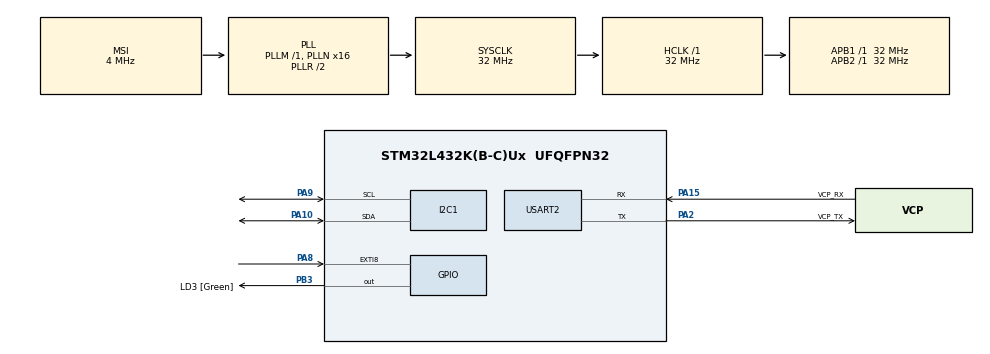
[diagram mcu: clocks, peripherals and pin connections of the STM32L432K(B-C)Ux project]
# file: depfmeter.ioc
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I2C1.Timing=0x00707CBB
Mcu.Family=STM32L4
Mcu.Name=STM32L432K(B-C)Ux
Mcu.Package=UFQFPN32
NVIC.EXTI9_5_IRQn=true\:0\:0\:false\:false\:true\:true\:true
NVIC.I2C1_ER_IRQn=true\:0\:0\:false\:false\:true\:true\:true
NVIC.I2C1_EV_IRQn=true\:0\:0\:false\:false\:true\:true\:true
NVIC.PriorityGroup=NVIC_PRIORITYGROUP_4
NVIC.RCC_IRQn=true\:0\:0\:false\:false\:true\:true\:false
NVIC.TIM1_UP_TIM16_IRQn=true\:0\:0\:false\:false\:true\:true\:true
PA0.GPIO_Label=MCO [High speed clock in]
PA0.Mode=HSE-External-Clock-Source-for-LittleOrca
PA0.Signal=RCC_CK_IN
PA10.Mode=I2C
PA10.Signal=I2C1_SDA
PA13\ (JTMS-SWDIO).GPIO_Label=SWDIO
PA13\ (JTMS-SWDIO).Mode=Serial_Wire
PA13\ (JTMS-SWDIO).Signal=SYS_JTMS-SWDIO
PA14\ (JTCK-SWCLK).GPIO_Label=SWCLK
PA14\ (JTCK-SWCLK).Mode=Serial_Wire
PA14\ (JTCK-SWCLK).Signal=SYS_JTCK-SWCLK
PA15\ (JTDI).GPIO_Label=VCP_RX
PA15\ (JTDI).Mode=Asynchronous
PA15\ (JTDI).Signal=USART2_RX
PA2.GPIO_Label=VCP_TX
PA2.Mode=Asynchronous
PA2.Signal=USART2_TX
PA8.GPIO_PuPd=GPIO_PULLDOWN
PA8.Signal=GPXTI8
PA9.Mode=I2C
PA9.Signal=I2C1_SCL
PB3\ (JTDO-TRACESWO).GPIO_Label=LD3 [Green]
PB3\ (JTDO-TRACESWO).Signal=GPIO_Output
PC14-OSC32_IN\ (PC14).Mode=LSE-External-Oscillator
PC14-OSC32_IN\ (PC14).Signal=RCC_OSC32_IN
PC15-OSC32_OUT\ (PC15).Mode=LSE-External-Oscillator
PC15-OSC32_OUT\ (PC15).Signal=RCC_OSC32_OUT
ProjectManager.HeapSize=0x200
ProjectManager.StackSize=0x400
ProjectManager.TargetToolchain=STM32CubeIDE
RCC.AHBFreq_Value=32000000
RCC.APB1Freq_Value=32000000
RCC.APB1TimFreq_Value=32000000
RCC.APB2Freq_Value=32000000
RCC.APB2TimFreq_Value=32000000
RCC.CortexFreq_Value=32000000
RCC.HCLKFreq_Value=32000000
RCC.HSE_VALUE=8000000
RCC.HSI16_VALUE=16000000
RCC.HSI48_VALUE=48000000
RCC.HSI_VALUE=16000000
RCC.MSI_VALUE=4000000
RCC.PLLMUL=RCC_PLLMUL_4
RCC.PLLN=16
RCC.SYSCLKFreq_VALUE=32000000
RCC.SYSCLKSource=RCC_SYSCLKSOURCE_PLLCLK
RCC.VCOOutputFreq_Value=64000000
TIM1.Period=60000
TIM1.Prescaler=3199
USART2.VirtualMode-Asynchronous=VM_ASYNC
VP_TIM1_VS_ClockSourceINT.Mode=Internal
board=NUCLEO-L432KC

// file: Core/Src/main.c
/* USER CODE BEGIN Header */
/**
 ******************************************************************************
 * @file           : main.c
 * @brief          : Main program body
 ******************************************************************************
 * @attention
 *
 * <h2><center>&copy; Copyright (c) 2020 STMicroelectronics.
 * All rights reserved.</center></h2>
 *
 * This software component is licensed by ST under BSD 3-Clause license,
 * the "License"; You may not use this file except in compliance with the
 * License. You may obtain a copy of the License at:
 *                        opensource.org/licenses/BSD-3-Clause
 *
 ******************************************************************************
 */
/* USER CODE END Header */
#include "main.h"

I2C_HandleTypeDef hi2c1;

TIM_HandleTypeDef htim1;
UART_HandleTypeDef huart2;

/* USER CODE BEGIN PV */
uint8_t rx_buffer[3];
uint16_t C[7];
uint32_t D1, D2;
uint8_t RES_DEVICE = 0x1E;
uint8_t CONVERT_D1 = 0x4A;
uint8_t CONVERT_D2 = 0x5A;
uint8_t ADC_READ = 0x00;
uint8_t PROM_READ = 0xA0;
int32_t result;
/* USER CODE END PV */

void SystemClock_Config(void);
static void MX_GPIO_Init(void);
static void MX_USART2_UART_Init(void);
static void MX_I2C1_Init(void);
static void MX_TIM1_Init(void);
/* USER CODE BEGIN PFP */
int32_t calculate();
/* USER CODE END PFP */

int main(void) {
	/* USER CODE BEGIN 1 */
	HAL_StatusTypeDef ret;
	/* USER CODE END 1 */

	/* MCU Configuration--------------------------------------------------------*/

	/* Reset of all peripherals, Initializes the Flash interface and the Systick. */
	HAL_Init();

	/* Configure the system clock */
	SystemClock_Config();

	/* Initialize all configured peripherals */
	MX_GPIO_Init();
	MX_USART2_UART_Init();
	MX_I2C1_Init();
	MX_TIM1_Init();
	/* USER CODE BEGIN 2 */
	//HAL_TIM_Base_Start_IT(&htim1);
	HAL_TIM_Base_Start(&htim1);
	HAL_I2C_Init(&hi2c1);
	/* USER CODE END 2 */

	/* Infinite loop */
	/* USER CODE BEGIN WHILE */
	while (1) {
				HAL_TIM_Base_Start(&htim1);
				if (TIM1->CNT == 19000) {//if diver holds button for 5 secs calcul starts
					//resetting the device first
					uint8_t *p;
					p = &RES_DEVICE;
					HAL_I2C_Master_Transmit(&hi2c1, DEVICE_ADDR, p, COMMAND_LENGTH, HAL_MAX_DELAY);
					uint8_t prom_addr = 160;
					//receiving the coefs
					for (uint8_t i = 0; i < 8; i++) {
						uint8_t prom_buff[2];
						prom_addr += 2;
						p = &prom_addr;
						HAL_I2C_Master_Transmit(&hi2c1, DEVICE_ADDR, p, COMMAND_LENGTH, HAL_MAX_DELAY);

						HAL_I2C_Master_Receive(&hi2c1, DEVICE_ADDR, prom_buff, PROM_LENGTH, HAL_MAX_DELAY);

						C[i] = (prom_buff[0] << 8) | (prom_buff[1]);
					}
					//initializing D1 conversion
					p = &CONVERT_D1;
					ret = HAL_I2C_Master_Transmit(&hi2c1, DEVICE_ADDR, p, COMMAND_LENGTH, HAL_MAX_DELAY);
					HAL_Delay(18.08);

					uint8_t adc_buff[3];
					//reading D1 data
					p = &ADC_READ;
					ret = HAL_I2C_Master_Transmit(&hi2c1, DEVICE_ADDR, p, COMMAND_LENGTH, HAL_MAX_DELAY);
					HAL_Delay(300);
					HAL_I2C_Master_Receive(&hi2c1, DEVICE_ADDR, adc_buff, ADC_LENGTH, HAL_MAX_DELAY);

					D1 = (adc_buff[0] << 16) | (adc_buff[1] << 8) | (adc_buff[2]);

					//initializing D2 conversion
					p = &CONVERT_D2;
					HAL_I2C_Master_Transmit(&hi2c1, DEVICE_ADDR, p,
							COMMAND_LENGTH, HAL_MAX_DELAY);
					HAL_Delay(18.08);

					//reading D2 data
					p = &ADC_READ;
					HAL_I2C_Master_Transmit(&hi2c1, DEVICE_ADDR, p,
							COMMAND_LENGTH, HAL_MAX_DELAY);
					HAL_I2C_Master_Receive(&hi2c1, DEVICE_ADDR, adc_buff,
							ADC_LENGTH, HAL_MAX_DELAY);

					D2 = (adc_buff[0] << 16) | (adc_buff[1] << 8) | (adc_buff[2]);

					result = calculate();

					HAL_TIM_Base_Stop(&htim1);
					TIM1->CNT = 0;
				}
		/* USER CODE END WHILE */

	}
}

void SystemClock_Config(void) {
	RCC_OscInitTypeDef RCC_OscInitStruct = { 0 };
	RCC_ClkInitTypeDef RCC_ClkInitStruct = { 0 };
	RCC_PeriphCLKInitTypeDef PeriphClkInit = { 0 };

	/** Configure LSE Drive Capability
	 */
	HAL_PWR_EnableBkUpAccess();
	__HAL_RCC_LSEDRIVE_CONFIG(RCC_LSEDRIVE_LOW);
	/** Initializes the RCC Oscillators according to the specified parameters
	 * in the RCC_OscInitTypeDef structure.
	 */
	RCC_OscInitStruct.OscillatorType = RCC_OSCILLATORTYPE_LSE
			| RCC_OSCILLATORTYPE_MSI;
	RCC_OscInitStruct.LSEState = RCC_LSE_ON;
	RCC_OscInitStruct.MSIState = RCC_MSI_ON;
	RCC_OscInitStruct.MSICalibrationValue = 0;
	RCC_OscInitStruct.MSIClockRange = RCC_MSIRANGE_6;
	RCC_OscInitStruct.PLL.PLLState = RCC_PLL_ON;
	RCC_OscInitStruct.PLL.PLLSource = RCC_PLLSOURCE_MSI;
	RCC_OscInitStruct.PLL.PLLM = 1;
	RCC_OscInitStruct.PLL.PLLN = 16;
	RCC_OscInitStruct.PLL.PLLP = RCC_PLLP_DIV7;
	RCC_OscInitStruct.PLL.PLLQ = RCC_PLLQ_DIV2;
	RCC_OscInitStruct.PLL.PLLR = RCC_PLLR_DIV2;
	if (HAL_RCC_OscConfig(&RCC_OscInitStruct) != HAL_OK) {
		Error_Handler();
	}
	/** Initializes the CPU, AHB and APB buses clocks
	 */
	RCC_ClkInitStruct.ClockType = RCC_CLOCKTYPE_HCLK | RCC_CLOCKTYPE_SYSCLK
			| RCC_CLOCKTYPE_PCLK1 | RCC_CLOCKTYPE_PCLK2;
	RCC_ClkInitStruct.SYSCLKSource = RCC_SYSCLKSOURCE_PLLCLK;
	RCC_ClkInitStruct.AHBCLKDivider = RCC_SYSCLK_DIV1;
	RCC_ClkInitStruct.APB1CLKDivider = RCC_HCLK_DIV1;
	RCC_ClkInitStruct.APB2CLKDivider = RCC_HCLK_DIV1;

	if (HAL_RCC_ClockConfig(&RCC_ClkInitStruct, FLASH_LATENCY_1) != HAL_OK) {
		Error_Handler();
	}
	PeriphClkInit.PeriphClockSelection = RCC_PERIPHCLK_USART2
			| RCC_PERIPHCLK_I2C1;
	PeriphClkInit.Usart2ClockSelection = RCC_USART2CLKSOURCE_PCLK1;
	PeriphClkInit.I2c1ClockSelection = RCC_I2C1CLKSOURCE_PCLK1;
	if (HAL_RCCEx_PeriphCLKConfig(&PeriphClkInit) != HAL_OK) {
		Error_Handler();
	}
	/** Configure the main internal regulator output voltage
	 */
	if (HAL_PWREx_ControlVoltageScaling(PWR_REGULATOR_VOLTAGE_SCALE1)
			!= HAL_OK) {
		Error_Handler();
	}
	/** Enable MSI Auto calibration
	 */
	HAL_RCCEx_EnableMSIPLLMode();
}

static void MX_I2C1_Init(void) {

	hi2c1.Instance = I2C1;
	hi2c1.Init.Timing = 0x00707CBB;
	hi2c1.Init.OwnAddress1 = 0;
	hi2c1.Init.AddressingMode = I2C_ADDRESSINGMODE_7BIT;
	hi2c1.Init.DualAddressMode = I2C_DUALADDRESS_DISABLE;
	hi2c1.Init.OwnAddress2 = 0;
	hi2c1.Init.OwnAddress2Masks = I2C_OA2_NOMASK;
	hi2c1.Init.GeneralCallMode = I2C_GENERALCALL_DISABLE;
	hi2c1.Init.NoStretchMode = I2C_NOSTRETCH_DISABLE;
	if (HAL_I2C_Init(&hi2c1) != HAL_OK) {
		Error_Handler();
	}
	/** Configure Analogue filter
	 */
	if (HAL_I2CEx_ConfigAnalogFilter(&hi2c1, I2C_ANALOGFILTER_ENABLE)
			!= HAL_OK) {
		Error_Handler();
	}
	/** Configure Digital filter
	 */
	if (HAL_I2CEx_ConfigDigitalFilter(&hi2c1, 0) != HAL_OK) {
		Error_Handler();
	}

}

static void MX_TIM1_Init(void) {

	TIM_ClockConfigTypeDef sClockSourceConfig = { 0 };
	TIM_MasterConfigTypeDef sMasterConfig = { 0 };

	htim1.Instance = TIM1;
	htim1.Init.Prescaler = 3199;
	htim1.Init.CounterMode = TIM_COUNTERMODE_UP;
	htim1.Init.Period = 60000;
	htim1.Init.ClockDivision = TIM_CLOCKDIVISION_DIV1;
	htim1.Init.RepetitionCounter = 0;
	htim1.Init.AutoReloadPreload = TIM_AUTORELOAD_PRELOAD_DISABLE;
	if (HAL_TIM_Base_Init(&htim1) != HAL_OK) {
		Error_Handler();
	}
	sClockSourceConfig.ClockSource = TIM_CLOCKSOURCE_INTERNAL;
	if (HAL_TIM_ConfigClockSource(&htim1, &sClockSourceConfig) != HAL_OK) {
		Error_Handler();
	}
	sMasterConfig.MasterOutputTrigger = TIM_TRGO_RESET;
	sMasterConfig.MasterOutputTrigger2 = TIM_TRGO2_RESET;
	sMasterConfig.MasterSlaveMode = TIM_MASTERSLAVEMODE_DISABLE;
	if (HAL_TIMEx_MasterConfigSynchronization(&htim1, &sMasterConfig)
			!= HAL_OK) {
		Error_Handler();
	}

}

static void MX_USART2_UART_Init(void) {

	huart2.Instance = USART2;
	huart2.Init.BaudRate = 115200;
	huart2.Init.WordLength = UART_WORDLENGTH_8B;
	huart2.Init.StopBits = UART_STOPBITS_1;
	huart2.Init.Parity = UART_PARITY_NONE;
	huart2.Init.Mode = UART_MODE_TX_RX;
	huart2.Init.HwFlowCtl = UART_HWCONTROL_NONE;
	huart2.Init.OverSampling = UART_OVERSAMPLING_16;
	huart2.Init.OneBitSampling = UART_ONE_BIT_SAMPLE_DISABLE;
	huart2.AdvancedInit.AdvFeatureInit = UART_ADVFEATURE_NO_INIT;
	if (HAL_UART_Init(&huart2) != HAL_OK) {
		Error_Handler();
	}

}

static void MX_GPIO_Init(void) {
	GPIO_InitTypeDef GPIO_InitStruct = { 0 };

	/* GPIO Ports Clock Enable */
	__HAL_RCC_GPIOC_CLK_ENABLE();
	__HAL_RCC_GPIOA_CLK_ENABLE();
	__HAL_RCC_GPIOB_CLK_ENABLE();

	/*Configure GPIO pin Output Level */
	HAL_GPIO_WritePin(LD3_GPIO_Port, LD3_Pin, GPIO_PIN_RESET);

	/*Configure GPIO pin : PA8 */
	GPIO_InitStruct.Pin = GPIO_PIN_8;
	GPIO_InitStruct.Mode = GPIO_MODE_IT_RISING;
	GPIO_InitStruct.Pull = GPIO_PULLDOWN;
	HAL_GPIO_Init(GPIOA, &GPIO_InitStruct);

	/*Configure GPIO pin : LD3_Pin */
	GPIO_InitStruct.Pin = LD3_Pin;
	GPIO_InitStruct.Mode = GPIO_MODE_OUTPUT_PP;
	GPIO_InitStruct.Pull = GPIO_NOPULL;
	GPIO_InitStruct.Speed = GPIO_SPEED_FREQ_LOW;
	HAL_GPIO_Init(LD3_GPIO_Port, &GPIO_InitStruct);

	/* EXTI interrupt init*/
	HAL_NVIC_SetPriority(EXTI9_5_IRQn, 0, 0);
	HAL_NVIC_EnableIRQ(EXTI9_5_IRQn);

}

/* USER CODE BEGIN 4 */
/*void HAL_GPIO_EXTI_Callback(uint16_t GPIO_Pin) {
	if (GPIO_Pin == GPIO_PIN_8) {
		HAL_TIM_Base_Start(&htim1);
		if (TIM1->CNT == 60000) {//if diver holds button for 5 secs calcul starts
			//resetting the device first
			HAL_I2C_Master_Transmit(&hi2c1, DEVICE_ADDR, RES_DEVICE,
					COMMAND_LENGTH, 1500);
			//receiving the coefs
			for (uint8_t i = 0; i < 7; i++) {
				uint8_t prom_buff[2];
				HAL_I2C_Master_Transmit(&hi2c1, DEVICE_ADDR,
						PROM_READ + i * 2, COMMAND_LENGTH, SEND_TIME);

				HAL_I2C_Master_Receive(&hi2c1, DEVICE_ADDR, prom_buff,
						PROM_LENGTH, RECEIVE_TIME);

				C[i] = (prom_buff[0] << 8) | (prom_buff[1]);

			}
			//initializing D1 conversion
			HAL_I2C_Master_Transmit(&hi2c1, DEVICE_ADDR, CONVERT_D1,
					COMMAND_LENGTH, 1500);
			HAL_Delay(10);

			uint8_t adc_buff[3];
			//reading D1 data
			HAL_I2C_Master_Transmit(&hi2c1, DEVICE_ADDR, ADC_READ,
					COMMAND_LENGTH, SEND_TIME);
			HAL_I2C_Master_Receive(&hi2c1, DEVICE_ADDR, adc_buff,
					ADC_LENGTH, RECEIVE_TIME);

			D1 = (adc_buff[0] << 16) | (adc_buff[1] << 8) | (adc_buff[2]);

			//initializing D2 conversion
			HAL_I2C_Master_Transmit(&hi2c1, DEVICE_ADDR, CONVERT_D2,
					COMMAND_LENGTH, SEND_TIME);
			HAL_Delay(10);

			//reading D2 data
			HAL_I2C_Master_Transmit(&hi2c1, DEVICE_ADDR, ADC_READ,
					COMMAND_LENGTH, SEND_TIME);
			HAL_I2C_Master_Receive(&hi2c1, DEVICE_ADDR, adc_buff,
					ADC_LENGTH, RECEIVE_TIME);

			D2 = (adc_buff[0] << 16) | (adc_buff[1] << 8) | (adc_buff[2]);

			calculate();

		}
		TIM1->CNT = 0;
	}
}*/

/* USER CODE END 4 */

void Error_Handler(void) {
}

/************************ (C) COPYRIGHT STMicroelectronics *****END OF FILE****/
